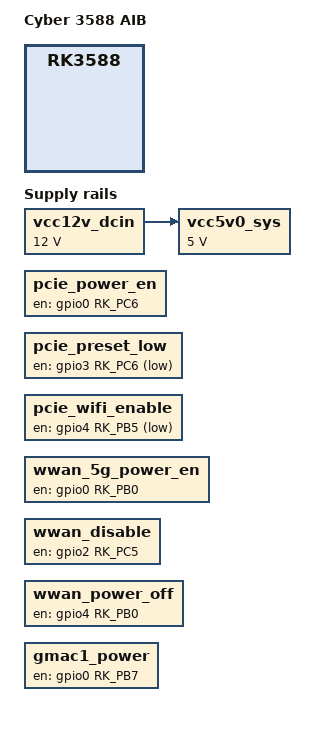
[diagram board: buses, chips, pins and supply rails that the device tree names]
// SPDX-License-Identifier: (GPL-2.0+ OR MIT)
/*
 * Copyright (c) 2022 Rockchip Electronics Co., Ltd.
 * Copyright (c) 2024 Cyber RD Group
 */

/dts-v1/;
#include "rk3588.dtsi"
#include "rk3588-u-boot.dtsi"
#include <dt-bindings/input/input.h>

/ {
	model = "Cyber 3588 AIB";
	compatible = "cyber,cyber3588-aib", "rockchip,rk3588";

	vcc12v_dcin: vcc12v-dcin {
		u-boot,dm-pre-reloc;
		compatible = "regulator-fixed";
		regulator-name = "vcc12v_dcin";
		regulator-always-on;
		regulator-boot-on;
		regulator-min-microvolt = <12000000>;
		regulator-max-microvolt = <12000000>;
	};

	vcc5v0_sys: vcc5v0-sys {
		u-boot,dm-pre-reloc;
		compatible = "regulator-fixed";
		regulator-name = "vcc5v0_sys";
		regulator-always-on;
		regulator-boot-on;
		regulator-min-microvolt = <5000000>;
		regulator-max-microvolt = <5000000>;
		vin-supply = <&vcc12v_dcin>;
	};

	pcie_power_en: pcie-power-en-regulator {
		u-boot,dm-pre-reloc;
		compatible = "regulator-fixed";
        	regulator-name = "pcie_power_en";
		enable-active-high;
		gpio = <&gpio0 RK_PC6 GPIO_ACTIVE_HIGH>;
		pinctrl-0 = <&pcie_power_h>;
		pinctrl-names = "default";
		regulator-boot-on;
		regulator-always-on;
	};

	pcie_preset_low: pcie-preset-low-regulator {
		u-boot,dm-pre-reloc;
		compatible = "regulator-fixed";
        	regulator-name = "pcie_preset_low";
		enable-active-low;
		gpio = <&gpio3 RK_PC6 GPIO_ACTIVE_LOW>;
		pinctrl-0 = <&pcie_preset_l>;
		pinctrl-names = "default";
		regulator-boot-on;
		regulator-always-on;
	};

	pcie_wifi_enable: pcie-wifi-enable-regulator {
		u-boot,dm-pre-reloc;
		compatible = "regulator-fixed";
        	regulator-name = "pcie_wifi_enable";
		enable-active-low;
		gpio = <&gpio4 RK_PB5 GPIO_ACTIVE_HIGH>;
		pinctrl-0 = <&pcie_wifi_h>;
		pinctrl-names = "default";
		regulator-boot-on;
		regulator-always-on;
	};

	wwan_5g_power_en: wwan-5g-power-en {
		u-boot,dm-pre-reloc;
		compatible = "regulator-fixed";
        	regulator-name = "wwan_5g_power_en";
		enable-active-high;
		gpio = <&gpio0 RK_PB0 GPIO_ACTIVE_HIGH>;
		pinctrl-0 = <&wwan_5g_power_h>;
		pinctrl-names = "default";
		regulator-boot-on;
		regulator-always-on;
	};

	wwan_disable: wwan-disable-regulator {
		u-boot,dm-pre-reloc;
		compatible = "regulator-fixed";
		regulator-name = "wwan_disable";
		enable-active-high;
		gpio = <&gpio2 RK_PC5 GPIO_ACTIVE_HIGH>;
		pinctrl-0 = <&wwan_disable_h>;
		pinctrl-names = "default";
		regulator-boot-on;
		regulator-always-on;
	};

	wwan_power_off: wwan-power-off-regulator {
		u-boot,dm-pre-reloc;
		compatible = "regulator-fixed";
		regulator-name = "wwan_power_off";
		enable-active-high;
		gpio = <&gpio4 RK_PB0 GPIO_ACTIVE_HIGH>;
		pinctrl-0 = <&wwan_power_off_h>;
		pinctrl-names = "default";
		regulator-boot-on;
		regulator-always-on;
	};

	gmac1_power: gmac1-power {
		u-boot,dm-pre-reloc;
		compatible = "regulator-fixed";
		regulator-name = "gmac1_power";
		enable-active-high;
		gpio = <&gpio0 RK_PB7 GPIO_ACTIVE_HIGH>;
		pinctrl-0 = <&gmac1_rgmii_pwr_en>;
		pinctrl-names = "default";
		regulator-boot-on;
		regulator-always-on;
	};
};

&pinctrl {
	pcie {
		pcie_power_h: pcie-power-h {
			u-boot,dm-pre-reloc;
			rockchip,pins = <0 RK_PC6 RK_FUNC_GPIO &pcfg_pull_up>;
		};
		pcie_preset_l: pcie-preset-l {
			u-boot,dm-pre-reloc;
			rockchip,pins = <3 RK_PC6 RK_FUNC_GPIO &pcfg_pull_down>;
		};
		pcie_wifi_h: pcie-wifi-h {
			u-boot,dm-pre-reloc;
			rockchip,pins = <4 RK_PB5 RK_FUNC_GPIO &pcfg_pull_up>;
		};
	};

	wwan-pwr {
		wwan_5g_power_h: wwan-5g-power-h {
			u-boot,dm-pre-reloc;
			rockchip,pins = <0 RK_PB0 RK_FUNC_GPIO &pcfg_pull_up>;
		};

		wwan_disable_h: wwan-disable-h {
			u-boot,dm-pre-reloc;
			rockchip,pins = <2 RK_PC5 RK_FUNC_GPIO &pcfg_pull_up>;
		};

		wwan_power_off_h: wwan-power-off-h {
			u-boot,dm-pre-reloc;
			rockchip,pins = <4 RK_PB0 RK_FUNC_GPIO &pcfg_pull_up>;
		};
	};
	gmac1_rgmii {
		gmac1_rgmii_pwr_en: gmac1-rgmii-pwr-en {
			u-boot,dm-pre-reloc;
			rockchip,pins = <0 RK_PB7 RK_FUNC_GPIO &pcfg_pull_up>;
		};
	};
};
